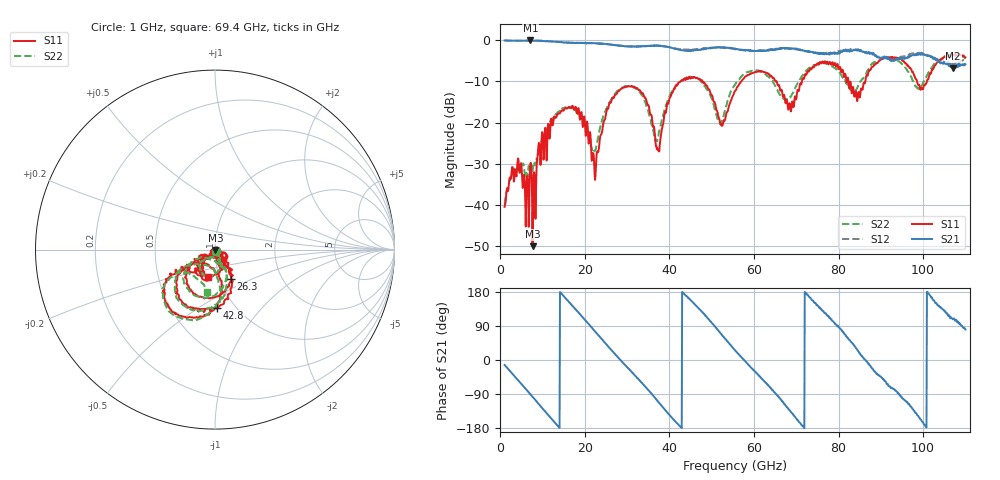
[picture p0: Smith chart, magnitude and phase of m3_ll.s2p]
!Keysight Technologies,N5222B,MY58421742,A.17.00.05
!Date: Friday, September 20, 2024 13:27:39
!Correction: S11(C  2-Port  )
!S21(C  2-Port  )
!S12(C  2-Port  )
!S22(C  2-Port  )
!S2P File: Measurements: S11, S21, S12, S22:
# Hz S  dB  R 50
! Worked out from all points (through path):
!   1091 points, 1 GHz to 110 GHz, reference 50 ohm
!   highest |S21| = -0.07 dB at 7.1 GHz (marker M1); lowest = -6.9 dB at 107.1 GHz (marker M2)
!   group delay of S21, straight-line fit = 34.4 ps
!   lowest |S11| = -50.0 dB at 7.6 GHz (marker M3), VSWR 1.01, Z = 50.2 - j0.254 ohm
!   |S11| at or under -10 dB: start of sweep to 42.61 GHz; 47.79 GHz to 56.99 GHz (9.202 GHz wide, 17.6 % of centre); 65.31 GHz to 71.34 GHz (6.021 GHz wide, 8.81 % of centre)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
!   |S22| runs from -39.7 to -3.6 dB; largest |S21 - S12| = 0.19
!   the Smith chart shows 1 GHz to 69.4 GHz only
!   S11 on the Smith chart (normalised r, x): 1 GHz: 1.01, -0.01; 26.3 GHz: 1.12, -0.38; 42.8 GHz: 0.83, -0.60; 69.4 GHz: 0.88, -0.27
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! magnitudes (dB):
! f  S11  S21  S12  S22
! 1 GHz  -40.4  -0.1  -0.1  -39.7
! 4.5 GHz  -32.0  -0.1  -0.1  -31.6
! 7.1 GHz  -29.9  -0.1  -0.1  -31.9
! 7.6 GHz  -50.0  -0.1  -0.1  -31.9
! 12.4 GHz  -20.6  -0.3  -0.3  -18.9
! 19.2 GHz  -17.5  -0.7  -0.6  -18.5
! 22.2 GHz  -30.5  -0.8  -0.7  -27.0
! 26.3 GHz  -14.6  -1.1  -1.1  -14.2
! 33.3 GHz  -12.7  -1.5  -1.5  -13.2
! 37.4 GHz  -26.8  -1.3  -1.3  -23.2
! 42.8 GHz  -9.8  -2.4  -2.2  -9.8
! 48 GHz  -10.4  -2.1  -2.0  -10.7
! 52 GHz  -20.1  -1.7  -1.8  -20.2
! 55.5 GHz  -12.3  -2.1  -2.2  -10.7
! 61.9 GHz  -7.6  -2.5  -2.5  -7.7
! 69.4 GHz  -16.1  -2.0  -2.1  -12.3
! 73.7 GHz  -6.8  -2.8  -3.0  -6.3
! 84.7 GHz  -12.6  -2.2  -2.5  -10.9
! 91.9 GHz  -4.1  -4.6  -4.4  -4.4
! 99.7 GHz  -11.6  -3.4  -3.0  -11.0
! 107.1 GHz  -3.6  -6.9  -5.7  -3.9
! 110 GHz  -4.2  -5.8  -4.8  -4.3
